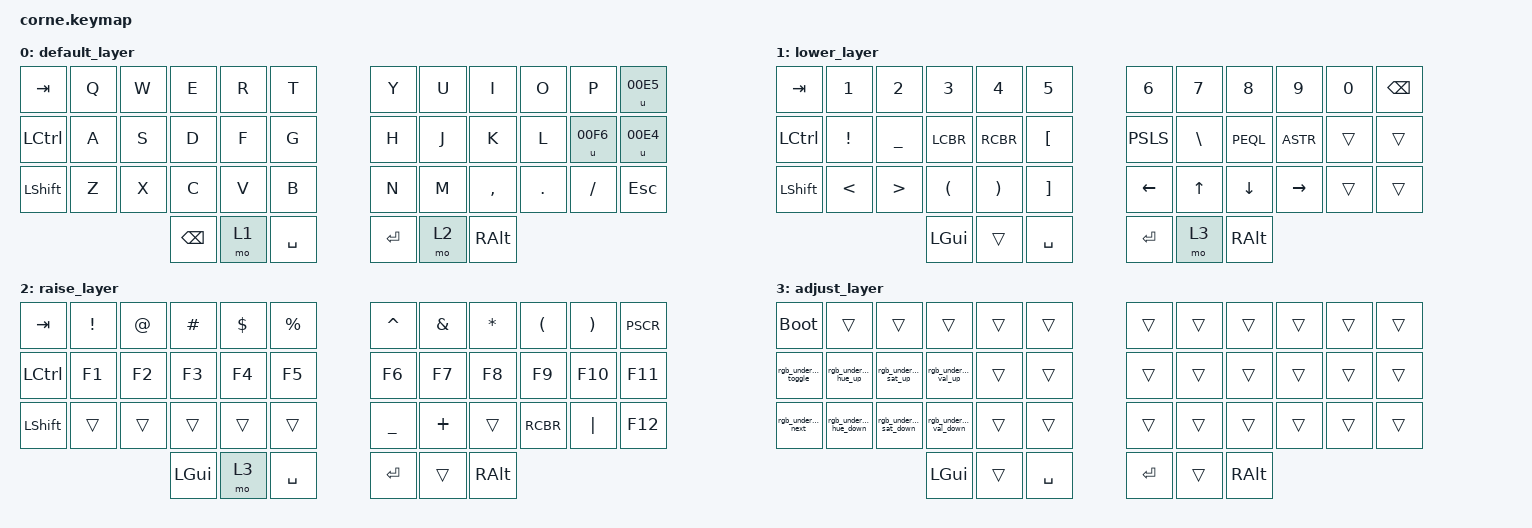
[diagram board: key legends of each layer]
/*
 * Copyright (c) 2020 The ZMK Contributors
 * Target: Corne v3 (crkbd/rev1) with nice!nano (Swedish layout modifications)
 * SPDX-License-Identifier: MIT
 */

#include <behaviors.dtsi>
#include <dt-bindings/zmk/keys.h>
#include <dt-bindings/zmk/bt.h>

 / {
    keymap {
        compatible = "zmk,keymap";

        default_layer {
            bindings = <
                &kp TAB   &kp Q    &kp W    &kp E    &kp R    &kp T       &kp Y    &kp U    &kp I    &kp O    &kp P    &u 00E5  // å
                &kp LCTRL &kp A    &kp S    &kp D    &kp F    &kp G       &kp H    &kp J    &kp K    &kp L    &u 00F6  &u 00E4  // ö, ä
                &kp LSHFT &kp Z    &kp X    &kp C    &kp V    &kp B       &kp N    &kp M    &kp COMMA &kp DOT  &kp FSLH &kp ESC
                               &kp BSPC  &mo 1  &kp SPACE   &kp RET   &mo 2   &kp RALT
            >;
        };

        lower_layer {
            bindings = <
                &kp TAB    &kp N1   &kp N2   &kp N3   &kp N4   &kp N5     &kp N6    &kp N7    &kp N8    &kp N9    &kp N0    &kp BSPC
                &kp LCTRL  &kp EXCL &kp UNDER &kp LCBR &kp RCBR &kp LBKT  &kp PSLS  &kp BSLH  &kp PEQL  &kp ASTR  &trans    &trans
                &kp LSHFT  &kp LT   &kp GT   &kp LPAR &kp RPAR &kp RBKT  &kp LEFT  &kp UP    &kp DOWN  &kp RIGHT &trans    &trans
                                  &kp LGUI  &trans  &kp SPACE   &kp RET   &mo 3   &kp RALT
            >;
        };

        raise_layer {
            bindings = <
                &kp TAB   &kp EXCL &kp AT   &kp HASH &kp DLLR &kp PRCNT  &kp CARET &kp AMPS  &kp ASTRK &kp LPAR &kp RPAR &kp PSCR
                &kp LCTRL &kp F1   &kp F2   &kp F3   &kp F4   &kp F5    &kp F6    &kp F7    &kp F8    &kp F9   &kp F10  &kp F11
                &kp LSHFT &trans   &trans   &trans   &trans   &trans    &kp UNDER &kp PLUS  &trans    &kp RCBR &kp PIPE &kp F12
                                  &kp LGUI  &mo 3   &kp SPACE   &kp RET   &trans   &kp RALT
            >;
        };

        adjust_layer {
            bindings = <
                &bootloader  &trans  &trans  &trans  &trans  &trans  &trans  &trans  &trans  &trans  &trans  &trans
                &rgb_underglow_toggle &rgb_underglow_hue_up &rgb_underglow_sat_up &rgb_underglow_val_up &trans  &trans  &trans  &trans  &trans  &trans  &trans  &trans
                &rgb_underglow_next &rgb_underglow_hue_down &rgb_underglow_sat_down &rgb_underglow_val_down &trans  &trans  &trans  &trans  &trans  &trans  &trans  &trans
                                  &kp LGUI  &trans  &kp SPACE   &kp RET   &trans   &kp RALT
            >;
        };
    };
};
